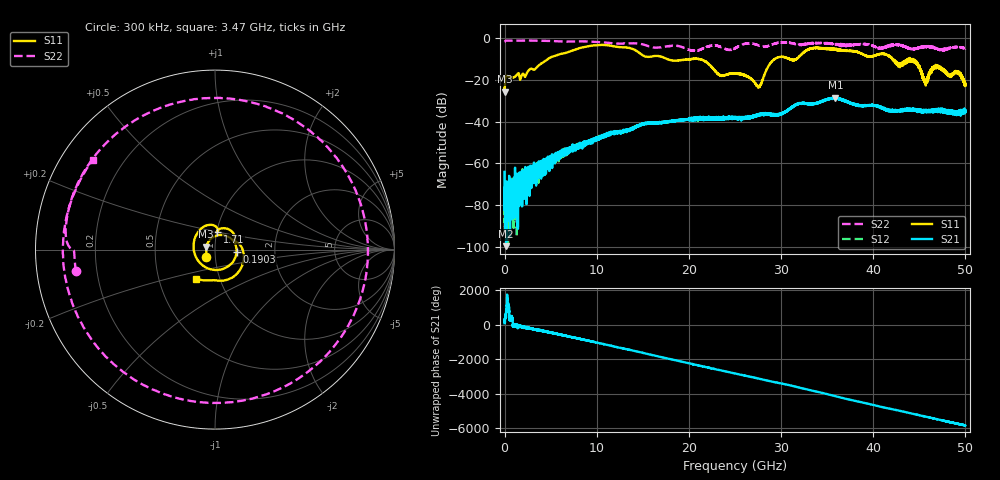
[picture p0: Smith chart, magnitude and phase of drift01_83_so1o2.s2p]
!Created with skrf (http://scikit-rf.org).
# Hz S RI R 50.0
!freq ReS11 ImS11 ReS21 ImS21 ReS12 ImS12 ReS22 ImS22
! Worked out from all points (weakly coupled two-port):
!   10001 points, 300 kHz to 50 GHz, reference 50 ohm
!   highest |S21| = -28.65 dB at 35.9 GHz (marker M1); lowest = -99.4 dB at 165.3 MHz (marker M2)
!   lowest |S11| = -25.8 dB at 5.3 MHz (marker M3), VSWR 1.11, Z = 45.3 + j1.42 ohm
!   |S11| at or under -10 dB: start of sweep to 4.763 GHz; 17.52 GHz to 29.37 GHz (11.84 GHz wide, 50.5 % of centre); 43.99 GHz to end of sweep (the widest 3 of 11)
!   |S22| runs from -6.4 to -1.3 dB; largest |S21 - S12| = 0.004
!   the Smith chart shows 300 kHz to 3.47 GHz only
!   S11 on the Smith chart (normalised r, x): 300 kHz: 0.91, -0.07; 190.3 MHz: 1.27, -0.03; 1.71 GHz: 1.00, +0.20; 3.47 GHz: 0.77, -0.26
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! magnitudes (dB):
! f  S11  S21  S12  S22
! 300 kHz  -24.1  -64.0  -66.2  -2.1
! 5.3 MHz  -25.8  -71.9  -81.3  -2.1
! 165.3 MHz  -18.4  -99.4  -72.5  -1.4
! 190.3 MHz  -18.3  -71.4  -80.2  -1.4
! 1.71 GHz  -20.0  -70.0  -70.0  -1.4
! 3.47 GHz  -14.3  -61.0  -61.9  -1.5
! 8.335 GHz  -4.8  -51.5  -51.1  -1.8
! 16.67 GHz  -8.8  -40.6  -40.6  -4.8
! 21.22 GHz  -10.3  -38.6  -38.4  -5.7
! 23.39 GHz  -18.1  -38.3  -38.4  -4.2
! 25 GHz  -16.9  -38.5  -38.4  -4.9
! 27.6 GHz  -23.2  -36.7  -36.8  -3.8
! 29.28 GHz  -10.3  -36.9  -36.9  -2.9
! 31.48 GHz  -10.7  -32.3  -32.4  -2.9
! 33.34 GHz  -5.1  -31.6  -31.6  -2.7
! 35.9 GHz  -5.7  -28.7  -28.9  -3.3
! 41.67 GHz  -8.5  -34.6  -34.4  -4.1
! 42.79 GHz  -12.9  -34.6  -34.9  -3.4
! 44.5 GHz  -10.8  -34.0  -34.6  -5.1
! 45.64 GHz  -20.1  -35.2  -34.7  -4.2
! 46.93 GHz  -13.6  -34.6  -34.4  -5.5
! 50 GHz  -22.2  -34.8  -35.4  -5.2
